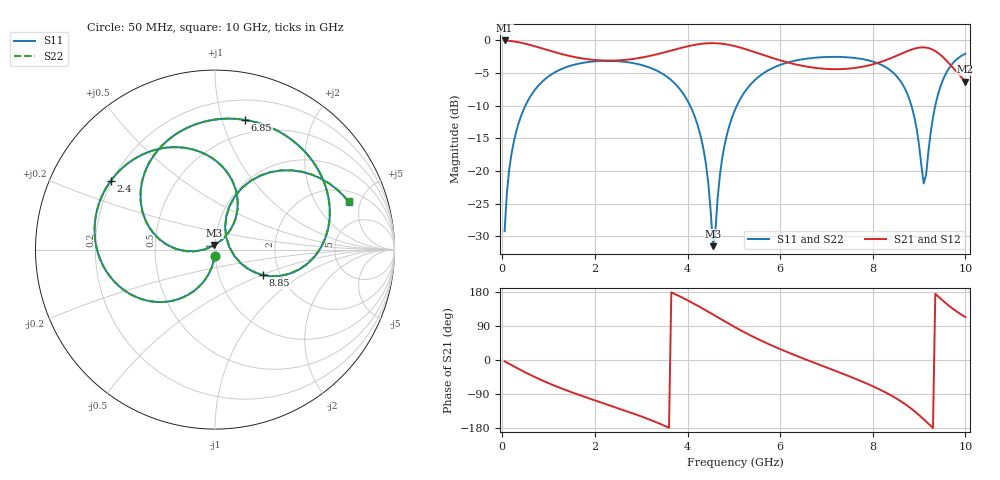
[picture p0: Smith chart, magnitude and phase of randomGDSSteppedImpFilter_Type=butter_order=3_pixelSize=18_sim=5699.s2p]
! freq	dB(S11)	phase(S11)	dB(S12)	phase(S12)
!  dB(S21)	phase(S21)	dB(S22)	phase(S22)
!S-par simulation data
#  GHz  S  DB  R 50
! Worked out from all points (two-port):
!   200 points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, 50 MHz to 10 GHz, reference 50 ohm
!   highest |S21| = -0.01 dB at 50 MHz (marker M1); lowest = -6.3 dB at 10 GHz (marker M2)
!   |S21| within 3 dB of the highest: start of sweep to 2.006 GHz; 2.618 GHz to 5.977 GHz (3.36 GHz wide, 78.2 % of centre) (the widest 2 of 3)
!   lowest |S11| = -31.5 dB at 4.55 GHz (marker M3), VSWR 1.05, Z = 49.5 + j2.6 ohm
!   |S11| at or under -10 dB: start of sweep to 498.5 MHz; 4.055 GHz to 5.066 GHz (1.011 GHz wide, 22.2 % of centre); 8.834 GHz to 9.349 GHz (515.4 MHz wide, 5.67 % of centre)
!   |S22| runs from -31.9 to -2.0 dB; largest |S21 - S12| = 0
!   S11 on the Smith chart (normalised r, x): 50 MHz: 0.99, -0.07; 2.4 GHz: 0.19, +0.29; 6.85 GHz: 0.37, +1.19; 8.85 GHz: 1.63, -0.51; 10 GHz: 2.73, +3.91
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0.05  -29.22 -93.5  -0.01 -3.4  -0.01 -3.4  -29.23 -93.5
0.2  -17.34 -104.1  -0.10 -13.6  -0.10 -13.6  -17.33 -104.1
0.5  -9.98 -123.5  -0.51 -32.9  -0.51 -32.9  -9.97 -123.5
1  -5.51 -151.8  -1.52 -61.3  -1.52 -61.3  -5.51 -151.8
1.75  -3.43 173.5  -2.79 -96.1  -2.79 -96.1  -3.42 173.5
2.4  -3.15 146.7  -3.09 -123.0  -3.09 -123.0  -3.15 146.7
3.4  -4.87 102.4  -2.02 -168.1  -2.02 -168.1  -4.87 102.4
4.2  -12.57 59.0  -0.62 144.5  -0.62 144.5  -12.57 58.7
4.4  -19.05 51.9  -0.45 130.6  -0.45 130.6  -19.06 51.2
4.55  -31.52 99.0  -0.42 120.0  -0.42 120.0  -31.95 97.8
4.75  -18.01 -175.9  -0.52 105.8  -0.52 105.8  -18.03 -175.2
5.05  -10.24 170.1  -0.93 84.9  -0.93 84.9  -10.24 170.4
5.75  -4.55 130.1  -2.50 42.1  -2.50 42.1  -4.55 130.3
6.7  -2.69 83.8  -4.16 -5.6  -4.16 -5.6  -2.69 84.0
6.85  -2.60 77.0  -4.28 -12.6  -4.28 -12.6  -2.60 77.1
7.75  -2.83 35.1  -4.07 -55.9  -4.07 -55.9  -2.83 35.3
8.35  -4.43 2.9  -2.84 -90.4  -2.84 -90.4  -4.42 3.1
8.85  -10.37 -28.0  -1.38 -130.2  -1.38 -130.2  -10.36 -27.7
9.1  -21.91 11.1  -1.07 -156.4  -1.07 -156.4  -21.78 11.3
9.45  -7.31 62.6  -2.15 163.5  -2.15 163.5  -7.31 62.6
9.7  -3.74 41.8  -3.92 137.9  -3.92 137.9  -3.74 41.9
10  -2.04 19.8  -6.35 113.1  -6.35 113.1  -2.04 19.8
